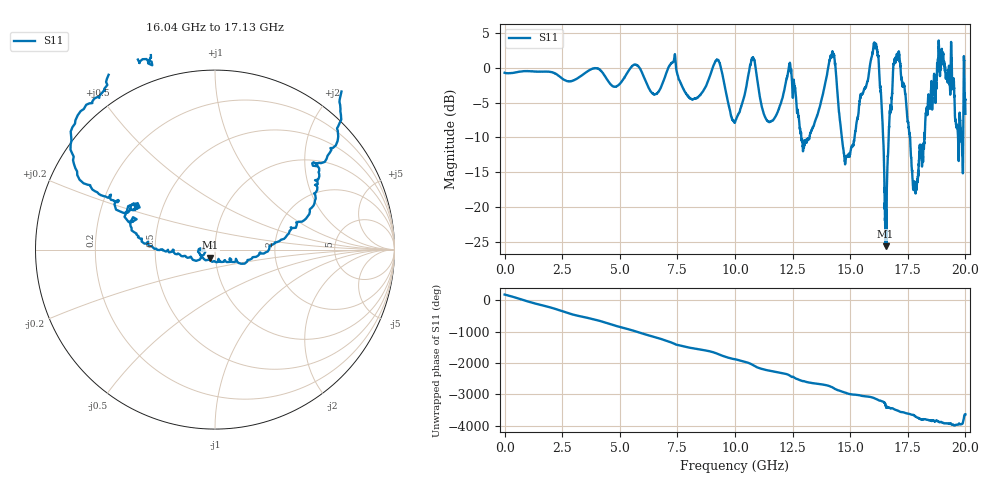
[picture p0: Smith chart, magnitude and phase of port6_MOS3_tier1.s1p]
! Created with skrf 1.8.0 (http://scikit-rf.org).
# GHz S RI R 50.0
!freq ReS11 ImS11
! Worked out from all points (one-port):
!   10001 points, 1 MHz to 20 GHz, reference 50 ohm
!   lowest |S11| = -25.7 dB at 16.54 GHz (marker M1), VSWR 1.11, Z = 47.2 - j4.21 ohm
!   |S11| at or under -10 dB: 12.88 GHz to 13.23 GHz (354.9 MHz wide, 2.72 % of centre); 14.64 GHz to 15.19 GHz (552.2 MHz wide, 3.7 % of centre); 17.6 GHz to 18.23 GHz (628.9 MHz wide, 3.51 % of centre) (the widest 3 of 7)
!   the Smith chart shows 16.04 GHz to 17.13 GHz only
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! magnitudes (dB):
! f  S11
! 1 MHz  -0.7
! 2.501 GHz  -1.5
! 5.001 GHz  -2.3
! 6.543 GHz  -3.8
! 7.501 GHz  -0.9
! 8.231 GHz  -4.4
! 9.259 GHz  1.2
! 10 GHz  -7.8
! 10.76 GHz  1.4
! 11.45 GHz  -7.7
! 12.34 GHz  0.3
! 12.5 GHz  -3.7
! 13.03 GHz  -10.5
! 14.23 GHz  2.3
! 14.72 GHz  -12.0
! 15 GHz  -12.3
! 16.09 GHz  3.3
! 16.3 GHz  -2.7
! 16.54 GHz  -25.7
! 16.96 GHz  1.0
! 17.14 GHz  1.6
! 17.5 GHz  -7.7
! 17.81 GHz  -16.9
! 18.9 GHz  -0.8
! 19.44 GHz  -2.4
! 19.63 GHz  -8.4
! 19.8 GHz  -8.7
! 20 GHz  -6.6
